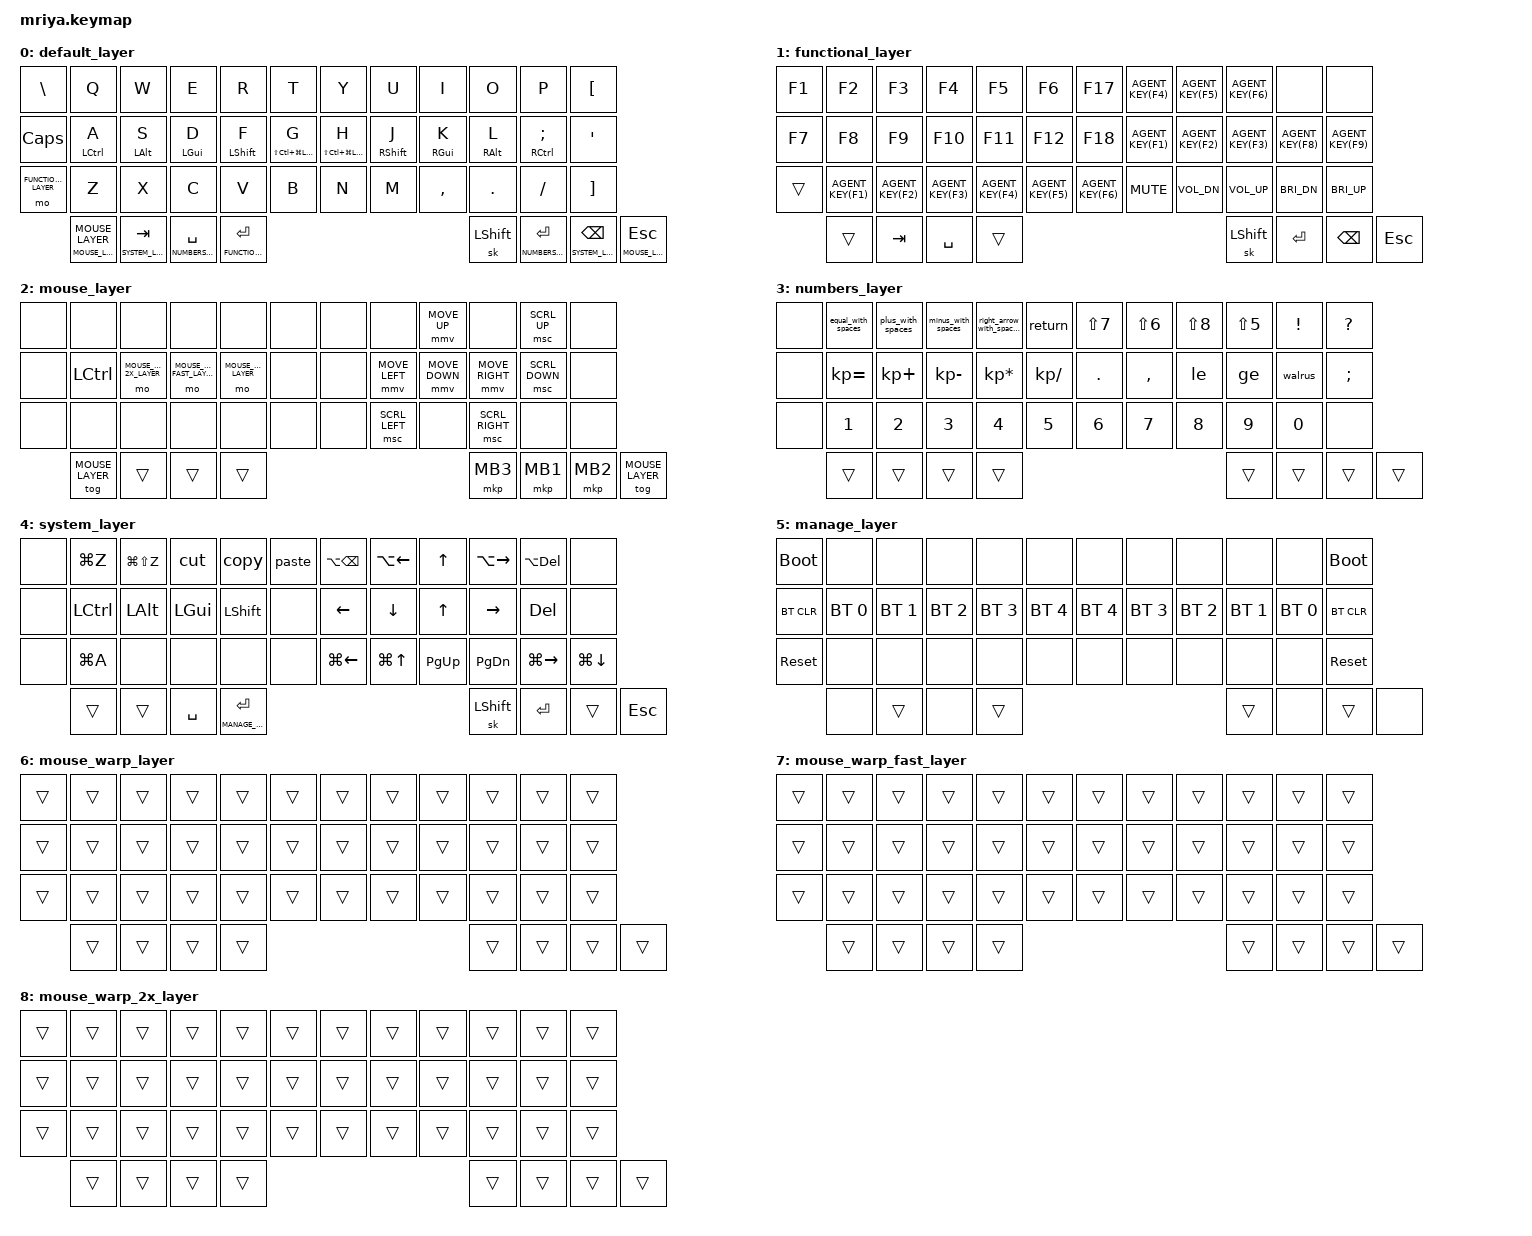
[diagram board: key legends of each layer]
/*
 * Copyright (c) 2023 Andrei Gaevskii
 *
 * SPDX-License-Identifier: MIT
 */

#include <behaviors.dtsi>
#include <dt-bindings/zmk/bt.h>
#include <dt-bindings/zmk/keys.h>

#define DEFAULT_LAYER     0
#define FUNCTIONAL_LAYER  1
#define MOUSE_LAYER       2
#define NUMBERS_LAYER     3
#define SYSTEM_LAYER      4
#define MANAGE_LAYER      5
#define MOUSE_WARP_LAYER       6
#define MOUSE_WARP_FAST_LAYER  7
#define MOUSE_WARP_2X_LAYER    8

/* Pointing defaults + &mmv/&msc accel + precision/warp scalers */
#include "mouse.dtsi"

#define COMBO_TERM_LONG 51

// #define HYPER <&kp LEFT_GUI &kp LEFT_ALT &kp LEFT_CONTROL &kp LEFT_SHIFT>
#define HYPER LS(LC(LG(LEFT_ALT)))
#define AGENT_KEY(KEY) LC(LA(LS(KEY)))
#define MEH LEFT_ALT(LC(LS))
//#define MEH <&kp LEFT_ALT &kp LEFT_CONTROL &kp LEFT_SHIFT>


#define COMBO(NAME, BINDINGS, KEYPOS, LAYERS, MS) \
    combo_##NAME { \
        bindings = <BINDINGS>; \
        key-positions = KEYPOS; \
        layers = LAYERS; \
        timeout-ms = <MS>; \
    };

&lt {
    quick-tap-ms = <200>;
};

&mt {
    quick-tap-ms = <125>;
    tapping-term-ms = <300>;
};


/ {
    combos {
        compatible = "zmk,combos";

        COMBO(caps_word, &caps_word, <12 23>, <0>, COMBO_TERM_LONG)
        COMBO(plus_symbol, &kp KP_PLUS, <7 19>, <0>, COMBO_TERM_LONG)
        COMBO(minus_symbol, &kp KP_MINUS, <19 31>, <0>, COMBO_TERM_LONG)
        COMBO(equal_sign, &kp KP_EQUAL, <15 16>, <0>, COMBO_TERM_LONG)

        COMBO(lpar, &kp LPAR, <7 8>, <0>, COMBO_TERM_LONG)
        COMBO(rpar, &kp RPAR, <8 9>, <0>, COMBO_TERM_LONG)

        /* COMBO(change_language, &kp CAPSLOCK, <38 41>, <0>, COMBO_TERM_LONG) */
        COMBO(bracket, &kp LEFT_BRACKET, <31 32>, <0>, COMBO_TERM_LONG)
        COMBO(right_bracket, &kp RIGHT_BRACKET, <32 33>, <0>, COMBO_TERM_LONG)
        COMBO(copy, &copy, <26 27>, <0>, COMBO_TERM_LONG)
        COMBO(paste, &paste, <27 28>, <0>, COMBO_TERM_LONG)
        COMBO(cut, &cut, <26 28>, <0>, COMBO_TERM_LONG)
        COMBO(caret, &kp CARET, <6 18>, <0>, COMBO_TERM_LONG)

        COMBO(and_, &kp AMPERSAND, <9 21>, <0>, COMBO_TERM_LONG)
        COMBO(or_, &kp PIPE, <21 33>, <0>, COMBO_TERM_LONG)

        COMBO(mult, &kp KP_MULTIPLY, <8 20>, <0>, COMBO_TERM_LONG)
        COMBO(div, &kp KP_DIVIDE, <20 32>, <0>, COMBO_TERM_LONG)

        COMBO(dollar, &kp DOLLAR, <4 16>, <0>, COMBO_TERM_LONG)
        COMBO(percent, &kp PERCENT, <5 17>, <0>, COMBO_TERM_LONG)
        COMBO(tilde, &kp TILDE, <17 29>, <0>, COMBO_TERM_LONG)
        COMBO(hash, &kp HASH, <3 15>, <0>, COMBO_TERM_LONG)
        COMBO(backslash, &kp BACKSLASH, <15 27>, <0>, COMBO_TERM_LONG)
        COMBO(at, &kp AT_SIGN, <2 14>, <0>, COMBO_TERM_LONG)
        COMBO(gravis, &kp GRAVE, <13 25>, <0>, COMBO_TERM_LONG)
        COMBO(ground, &kp UNDERSCORE, <18 30>, <0>, COMBO_TERM_LONG)
        COMBO(excl, &kp EXCL, <1 13>, <0>, COMBO_TERM_LONG)
    };

    macros {
        right_arrow: right_arrow {
            compatible = "zmk,behavior-macro";
            #binding-cells = <0>;
            bindings = <&kp MINUS &kp GT>;
            label = "RIGHT_ARROW";
        };

        right_arrow_with_spaces: right_arrow_with_spaces {
            compatible = "zmk,behavior-macro";
            #binding-cells = <0>;
            bindings = <&kp SPACE &kp MINUS &kp GT &kp SPACE>;
            label = "RIGHT_ARROW_WITH_SPACES";
        };

        equal_with_spaces: equal_with_spaces {
            compatible = "zmk,behavior-macro";
            #binding-cells = <0>;
            bindings = <&kp SPACE &kp KP_EQUAL &kp SPACE>;
            label = "EQUAL_WITH_SPACES";
        };

        increment_with_spaces: increment_with_spaces {
            compatible = "zmk,behavior-macro";
            #binding-cells = <0>;
            bindings = <&kp SPACE &kp KP_PLUS &kp KP_EQUAL &kp SPACE>;
            label = "INCREMENT_WITH_SPACES";
        };

        plus_with_spaces: plus_with_spaces {
            compatible = "zmk,behavior-macro";
            #binding-cells = <0>;
            bindings = <&kp SPACE &kp KP_PLUS &kp SPACE>;
            label = "PLUS_WITH_SPACES";
        };

        minus_with_spaces: minus_with_spaces {
            compatible = "zmk,behavior-macro";
            #binding-cells = <0>;
            bindings = <&kp SPACE &kp KP_MINUS &kp SPACE>;
            label = "MINUS_WITH_SPACES";
        };

        copy: copy {
            compatible = "zmk,behavior-macro";
            #binding-cells = <0>;
            bindings =
                <&macro_press>,
                <&kp LCMD>,
                <&macro_tap>,
                <&kp C>,
                <&macro_release>,
                <&kp LCMD>;
            label = "COPY";
        };

        paste: paste {
            compatible = "zmk,behavior-macro";
            #binding-cells = <0>;
            bindings =
                <&macro_press>,
                <&kp LCMD>,
                <&macro_tap>,
                <&kp V>,
                <&macro_release>,
                <&kp LCMD>;
            label = "PASTE";
        };

        cut: cut {
            compatible = "zmk,behavior-macro";
            #binding-cells = <0>;
            bindings =
                <&macro_press>,
                <&kp LCMD>,
                <&macro_tap>,
                <&kp X>,
                <&macro_release>,
                <&kp LCMD>;
            label = "CUT";
        };

        return: return {
            compatible = "zmk,behavior-macro";
            #binding-cells = <0>;
            bindings = <&kp SPACE &kp EQUAL &kp GT &kp SPACE>;
            label = "RETURN";
        };

        not_by_excl: not_by_excl {
            compatible = "zmk,behavior-macro";
            #binding-cells = <0>;
            bindings = <&kp EXCL &kp EQUAL>;
            label = "NOT_BY_EXCL";
        };

        inc: inc {
            compatible = "zmk,behavior-macro";
            #binding-cells = <0>;
            bindings = <&kp PLUS &kp EQUAL>;
            label = "INC";
        };

        decr: decr {
            compatible = "zmk,behavior-macro";
            #binding-cells = <0>;
            bindings = <&kp MINUS &kp EQUAL>;
            label = "DECR";
        };

        ge: ge {
            compatible = "zmk,behavior-macro";
            #binding-cells = <0>;
            bindings = <&kp GT &kp EQUAL>;
            label = "GE";
        };

        le: le {
            compatible = "zmk,behavior-macro";
            #binding-cells = <0>;
            bindings = <&kp LT &kp EQUAL>;
            label = "LE";
        };

        walrus: walrus {
            compatible = "zmk,behavior-macro";
            #binding-cells = <0>;
            bindings = <&kp COLON &kp EQUAL>;
            label = "WALRUS";
        };

        or_pipes: or_pipes {
            compatible = "zmk,behavior-macro";
            #binding-cells = <0>;
            bindings = <&kp PIPE &kp PIPE>;
            label = "OR_PIPES";
        };

        rust_lambda: rust_lambda {
            compatible = "zmk,behavior-macro";
            #binding-cells = <0>;
            bindings = <&kp PIPE &kp PIPE &kp LEFT>;
            label = "RUST_LAMBDA";
        };

        and: and {
            compatible = "zmk,behavior-macro";
            #binding-cells = <0>;
            bindings = <&kp AMPS &kp AMPS>;
            label = "AND";
        };

        /* hyper: hyper { */
        /*     compatible = "zmk,behavior-macro"; */
        /*     #binding-cells = <0>; */
        /*     bindings = */
        /*         <&macro_press>, */
        /*         HYPER, */
        /*         <&macro_pause_for_release>, */
        /*         <&macro_release>, */
        /*         HYPER; */
        /**/
        /*     label = "HYPER_MACRO"; */
        /* }; */
        /**/
        /* meh: meh { */
        /*     compatible = "zmk,behavior-macro"; */
        /*     #binding-cells = <0>; */
        /*     bindings = */
        /*         <&macro_press>, */
        /*         MEH, */
        /*         <&macro_pause_for_release>, */
        /*         <&macro_release>, */
        /*         MEH; */
        /**/
        /*     label = "MEH_MACRO"; */
        /* }; */
    };

    behaviors {
        hml: hml {
            compatible = "zmk,behavior-hold-tap";
            display-name = "HML";
            bindings = <&kp>, <&kp>;
            #binding-cells = <2>;
            tapping-term-ms = <280>;
            quick-tap-ms = <175>;
            require-prior-idle-ms = <150>;
            flavor = "balanced";
            hold-trigger-key-positions = <6 7 8 9 10 11 18 19 20 21 22 23 30 31 32 33 34 35 36 37 38 39 40 41 42 43>;
            hold-trigger-on-release;
        };

        hmr: hmr {
            compatible = "zmk,behavior-hold-tap";
            label = "HMR";
            bindings = <&kp>, <&kp>;

            #binding-cells = <2>;
            tapping-term-ms = <280>;
            quick-tap-ms = <175>;
            require-prior-idle-ms = <150>;
            flavor = "balanced";
            hold-trigger-key-positions = <0 1 2 3 4 5 12 13 14 15 16 17 24 25 26 27 28 29 36 37 38 39 40 41 42 43>;
            hold-trigger-on-release;
        };

        /* Hold: momentary mouse (drag). Tap: toggle sticky mouse. */
        mouse_ht: mouse_ht {
            compatible = "zmk,behavior-hold-tap";
            label = "MOUSE_HT";
            #binding-cells = <2>;
            bindings = <&mo>, <&tog>;
            flavor = "balanced";
            tapping-term-ms = <200>;
            quick-tap-ms = <150>;
        };
    };

    keymap {
        compatible = "zmk,keymap";

        default_layer {
            bindings = <
  &kp BACKSLASH         &kp Q                &kp W            &kp E            &kp R              &kp T         &kp Y         &kp U               &kp I             &kp O             &kp P                   &kp LEFT_BRACKET
  &kp CAPSLOCK          &hml LEFT_CONTROL A  &hml LEFT_ALT S  &hml LEFT_GUI D  &hml LEFT_SHIFT F  &hml HYPER G  &hmr HYPER H  &hmr RIGHT_SHIFT J  &hmr RIGHT_GUI K  &hmr RIGHT_ALT L  &hmr RIGHT_CONTROL SEMI  &kp APOSTROPHE
  &mo FUNCTIONAL_LAYER  &kp Z                &kp X            &kp C            &kp V              &kp B         &kp N         &kp M               &kp COMMA         &kp DOT           &kp SLASH               &kp RIGHT_BRACKET

                               &mouse_ht MOUSE_LAYER MOUSE_LAYER  &lt SYSTEM_LAYER TAB    &lt NUMBERS_LAYER SPACE    &lt FUNCTIONAL_LAYER RET        &sk LSHIFT  &lt NUMBERS_LAYER RETURN     &lt SYSTEM_LAYER BACKSPACE   &lt MOUSE_LAYER ESCAPE
            >;
        };

        functional_layer {
            bindings = <
  &kp F1   &kp F2   &kp F3    &kp F4   &kp F5    &kp F6     &kp F17  &kp AGENT_KEY(F4)  &kp AGENT_KEY(F5)  &kp AGENT_KEY(F6)  &none               &none
  &kp F7   &kp F8   &kp F9    &kp F10  &kp F11   &kp F12    &kp F18  &kp AGENT_KEY(F1)  &kp AGENT_KEY(F2)  &kp AGENT_KEY(F3)  &kp AGENT_KEY(F8)  &kp AGENT_KEY(F9)
  &trans   &kp AGENT_KEY(F1)  &kp AGENT_KEY(F2)  &kp AGENT_KEY(F3)  &kp AGENT_KEY(F4)  &kp AGENT_KEY(F5)  &kp AGENT_KEY(F6)  &kp C_MUTE  &kp C_VOL_DN  &kp C_VOL_UP  &kp C_BRI_DN  &kp C_BRI_UP
                    &trans  &kp TAB  &kp SPACE  &trans      &sk LSHIFT  &kp RET  &kp BACKSPACE  &kp ESCAPE
            >;
        };

        mouse_layer {
            /* Left speeds: default=fine, S=2x, F=4x, D=8x. Right: IJKL move, O/; scroll, thumbs click/tog. */
            bindings = <
  &none  &none  &none  &none                      &none                 &none        &none  &none           &mmv MOVE_UP        &none                &msc SCRL_UP            &none
  &none  &kp LCTRL &mo MOUSE_WARP_2X_LAYER &mo MOUSE_WARP_FAST_LAYER  &mo MOUSE_WARP_LAYER  &none        &none  &mmv MOVE_LEFT  &mmv MOVE_DOWN      &mmv MOVE_RIGHT      &msc SCRL_DOWN          &none
  &none  &none  &none  &none                      &none                 &none        &none  &msc SCRL_LEFT  &none               &msc SCRL_RIGHT      &none                   &none
              &tog MOUSE_LAYER  &trans  &trans  &trans        &mkp MB3        &mkp MB1        &mkp MB2            &tog MOUSE_LAYER
            >;
        };

        numbers_layer {
            bindings = <
  &none  &equal_with_spaces  &plus_with_spaces  &minus_with_spaces  &right_arrow_with_spaces  &return        &kp LS(N7)  &kp LS(N6)  &kp LS(N8)  &kp LS(N5)  &kp EXCL  &kp QUESTION
  &none  &kp KP_EQUAL        &kp KP_PLUS        &kp KP_MINUS        &kp KP_MULTIPLY           &kp KP_DIVIDE  &kp DOT     &kp COMMA   &le         &ge         &walrus   &kp SEMI
  &none  &kp N1              &kp N2             &kp N3              &kp N4                    &kp N5         &kp N6      &kp N7      &kp N8      &kp N9      &kp N0    &none

                     &trans     &trans   &trans       &trans         &trans    &trans  &trans  &trans
            >;
        };

        system_layer {
            bindings = <
  &none  &kp LG(Z)  &kp LG(LS(Z))  &cut      &copy       &paste  &kp LA(BACKSPACE)  &kp LA(LEFT)  &kp UP     &kp LA(RIGHT)  &kp LA(DELETE)  &none
  &none  &kp LCTRL  &kp LALT       &kp LGUI  &kp LSHIFT  &none   &kp LEFT           &kp DOWN      &kp UP     &kp RIGHT      &kp DELETE      &none
  &none  &kp LG(A)  &none          &none     &none       &none   &kp LG(LEFT)       &kp LG(UP)    &kp PG_UP  &kp PG_DN      &kp LG(RIGHT)   &kp LG(DOWN)
                               &trans  &trans  &kp SPACE  &lt MANAGE_LAYER RET       &sk LSHIFT  &kp RET  &trans  &kp ESCAPE
            >;
        };

        manage_layer {
            bindings = <
  &bootloader  &none         &none         &none         &none         &none           &none         &none         &none         &none         &none         &bootloader
  &bt BT_CLR   &bt BT_SEL 0  &bt BT_SEL 1  &bt BT_SEL 2  &bt BT_SEL 3  &bt BT_SEL 4    &bt BT_SEL 4  &bt BT_SEL 3  &bt BT_SEL 2  &bt BT_SEL 1  &bt BT_SEL 0  &bt BT_CLR
  &sys_reset   &none         &none         &none         &none         &none           &none         &none         &none         &none         &none         &sys_reset
                             &none         &trans        &none         &trans          &trans        &none         &trans        &none
            >;
        };

        /* Mostly transparent — activates mid warp scaler while held with mouse keys */
        mouse_warp_layer {
            bindings = <
  &trans  &trans  &trans  &trans  &trans  &trans        &trans  &trans  &trans  &trans  &trans  &trans
  &trans  &trans  &trans  &trans  &trans  &trans        &trans  &trans  &trans  &trans  &trans  &trans
  &trans  &trans  &trans  &trans  &trans  &trans        &trans  &trans  &trans  &trans  &trans  &trans

                  &trans  &trans  &trans  &trans        &trans  &trans  &trans  &trans
            >;
        };

        /* Mostly transparent — activates fast warp scaler while held with mouse keys */
        mouse_warp_fast_layer {
            bindings = <
  &trans  &trans  &trans  &trans  &trans  &trans        &trans  &trans  &trans  &trans  &trans  &trans
  &trans  &trans  &trans  &trans  &trans  &trans        &trans  &trans  &trans  &trans  &trans  &trans
  &trans  &trans  &trans  &trans  &trans  &trans        &trans  &trans  &trans  &trans  &trans  &trans

                  &trans  &trans  &trans  &trans        &trans  &trans  &trans  &trans
            >;
        };

        /* Mostly transparent — activates 2x warp scaler while held with mouse keys */
        mouse_warp_2x_layer {
            bindings = <
  &trans  &trans  &trans  &trans  &trans  &trans        &trans  &trans  &trans  &trans  &trans  &trans
  &trans  &trans  &trans  &trans  &trans  &trans        &trans  &trans  &trans  &trans  &trans  &trans
  &trans  &trans  &trans  &trans  &trans  &trans        &trans  &trans  &trans  &trans  &trans  &trans

                  &trans  &trans  &trans  &trans        &trans  &trans  &trans  &trans
            >;
        };
    };
};
